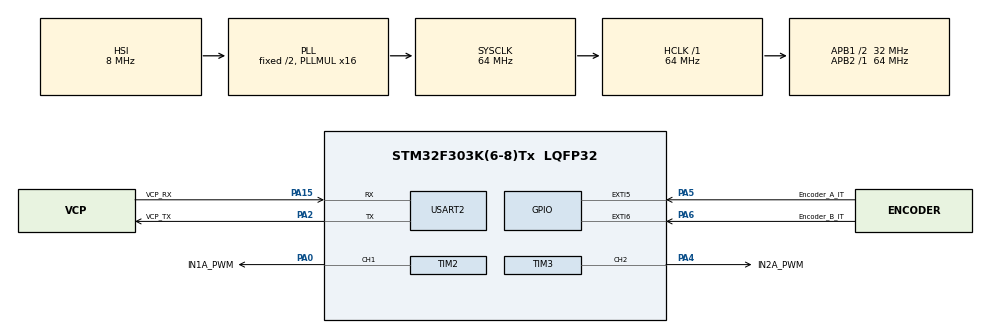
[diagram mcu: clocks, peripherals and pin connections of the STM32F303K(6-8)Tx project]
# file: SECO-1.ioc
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Mcu.Family=STM32F3
Mcu.Name=STM32F303K(6-8)Tx
Mcu.Package=LQFP32
NVIC.EXTI9_5_IRQn=true\:0\:0\:false\:false\:true\:true
NVIC.PriorityGroup=NVIC_PRIORITYGROUP_4
NVIC.TIM6_DAC1_IRQn=true\:0\:0\:false\:false\:true\:true
NVIC.TIM7_DAC2_IRQn=true\:0\:0\:false\:false\:true\:true
PA0.GPIO_Label=IN1A_PWM
PA0.Signal=S_TIM2_CH1_ETR
PA13.GPIO_Label=SWDIO
PA13.Mode=Serial_Wire
PA13.Signal=SYS_JTMS-SWDIO
PA14.GPIO_Label=SWCLK
PA14.Mode=Serial_Wire
PA14.Signal=SYS_JTCK-SWCLK
PA15.GPIO_Label=VCP_RX
PA15.Mode=Asynchronous
PA15.Signal=USART2_RX
PA2.GPIO_Label=VCP_TX
PA2.Mode=Asynchronous
PA2.Signal=USART2_TX
PA4.GPIO_Label=IN2A_PWM
PA4.Signal=S_TIM3_CH2
PA5.GPIO_Label=Encoder_A_IT
PA5.GPIO_ModeDefaultEXTI=GPIO_MODE_IT_RISING_FALLING
PA5.Signal=GPXTI5
PA6.GPIO_Label=Encoder_B_IT
PA6.GPIO_ModeDefaultEXTI=GPIO_MODE_IT_RISING_FALLING
PA6.Signal=GPXTI6
PF0\ /\ OSC_IN.GPIO_Label=MCO
PF0\ /\ OSC_IN.Mode=HSE-External-Clock-Source
PF0\ /\ OSC_IN.Signal=RCC_OSC_IN
ProjectManager.HeapSize=0x200
ProjectManager.StackSize=0x400
ProjectManager.TargetToolchain=TrueSTUDIO
RCC.AHBFreq_Value=64000000
RCC.APB1CLKDivider=RCC_HCLK_DIV2
RCC.APB1Freq_Value=32000000
RCC.APB1TimFreq_Value=64000000
RCC.APB2Freq_Value=64000000
RCC.APB2TimFreq_Value=64000000
RCC.CortexFreq_Value=64000000
RCC.HCLKFreq_Value=64000000
RCC.HSE_VALUE=8000000
RCC.HSI_VALUE=8000000
RCC.PLLMUL=RCC_PLL_MUL16
RCC.SYSCLKFreq_VALUE=64000000
RCC.SYSCLKSourceVirtual=RCC_SYSCLKSOURCE_PLLCLK
SH.S_TIM2_CH1_ETR.0=TIM2_CH1,PWM Generation1 CH1
SH.S_TIM3_CH2.0=TIM3_CH2,PWM Generation2 CH2
TIM2.Channel-PWM\ Generation1\ CH1=TIM_CHANNEL_1
TIM2.Period=1199
TIM2.Prescaler=1
TIM2.Pulse-PWM\ Generation1\ CH1=600
TIM3.Channel-PWM\ Generation2\ CH2=TIM_CHANNEL_2
TIM3.Period=1199
TIM3.Prescaler=1
TIM3.Pulse-PWM\ Generation2\ CH2=600
TIM6.Period=3999
TIM6.Prescaler=15
TIM7.Period=39
TIM7.Prescaler=31999
USART2.VirtualMode-Asynchronous=VM_ASYNC
VP_TIM2_VS_ClockSourceINT.Mode=Internal
VP_TIM3_VS_ClockSourceINT.Mode=Internal
VP_TIM6_VS_ClockSourceINT.Mode=Enable_Timer
VP_TIM7_VS_ClockSourceINT.Mode=Enable_Timer
board=NUCLEO-F303K8

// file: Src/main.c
/* USER CODE BEGIN Header */
/**
  ******************************************************************************
  * @file           : main.c
  * @brief          : Main program body
  ******************************************************************************
  ** This notice applies to any and all portions of this file
  * that are not between comment pairs USER CODE BEGIN and
  * USER CODE END. Other portions of this file, whether
  * inserted by the user or by software development tools
  * are owned by their respective copyright owners.
  *
  * COPYRIGHT(c) 2019 STMicroelectronics
  *
  * Redistribution and use in source and binary forms, with or without modification,
  * are permitted provided that the following conditions are met:
  *   1. Redistributions of source code must retain the above copyright notice,
  *      this list of conditions and the following disclaimer.
  *   2. Redistributions in binary form must reproduce the above copyright notice,
  *      this list of conditions and the following disclaimer in the documentation
  *      and/or other materials provided with the distribution.
  *   3. Neither the name of STMicroelectronics nor the names of its contributors
  *      may be used to endorse or promote products derived from this software
  *      without specific prior written permission.
  *
  * THIS SOFTWARE IS PROVIDED BY THE COPYRIGHT HOLDERS AND CONTRIBUTORS "AS IS"
  * AND ANY EXPRESS OR IMPLIED WARRANTIES, INCLUDING, BUT NOT LIMITED TO, THE
  * IMPLIED WARRANTIES OF MERCHANTABILITY AND FITNESS FOR A PARTICULAR PURPOSE ARE
  * DISCLAIMED. IN NO EVENT SHALL THE COPYRIGHT HOLDER OR CONTRIBUTORS BE LIABLE
  * FOR ANY DIRECT, INDIRECT, INCIDENTAL, SPECIAL, EXEMPLARY, OR CONSEQUENTIAL
  * DAMAGES (INCLUDING, BUT NOT LIMITED TO, PROCUREMENT OF SUBSTITUTE GOODS OR
  * SERVICES; LOSS OF USE, DATA, OR PROFITS; OR BUSINESS INTERRUPTION) HOWEVER
  * CAUSED AND ON ANY THEORY OF LIABILITY, WHETHER IN CONTRACT, STRICT LIABILITY,
  * OR TORT (INCLUDING NEGLIGENCE OR OTHERWISE) ARISING IN ANY WAY OUT OF THE USE
  * OF THIS SOFTWARE, EVEN IF ADVISED OF THE POSSIBILITY OF SUCH DAMAGE.
  *
  ******************************************************************************
  */
/* USER CODE END Header */

#include "main.h"

/* USER CODE BEGIN PD */
#define PI 3.14159265359
#define REDUCTORA 74.83
#define CPR 48
/* USER CODE END PD */

TIM_HandleTypeDef htim2;
TIM_HandleTypeDef htim3;
TIM_HandleTypeDef htim6;
TIM_HandleTypeDef htim7;

UART_HandleTypeDef huart2;

/* USER CODE BEGIN PV */
static int n_pulsos = 0;
static double r = 0;
static uint16_t K = 0;

static float n_pulsos_array[1200];
static uint16_t cuenta_1ms = 0;
/* USER CODE END PV */

void SystemClock_Config(void);
static void MX_GPIO_Init(void);
static void MX_USART2_UART_Init(void);
static void MX_TIM2_Init(void);
static void MX_TIM3_Init(void);
static void MX_TIM6_Init(void);
static void MX_TIM7_Init(void);

int main(void)
{

  /* MCU Configuration--------------------------------------------------------*/

  /* Reset of all peripherals, Initializes the Flash interface and the Systick. */
  HAL_Init();

  /* Configure the system clock */
  SystemClock_Config();

  /* Initialize all configured peripherals */
  MX_GPIO_Init();
  MX_USART2_UART_Init();
  MX_TIM2_Init();
  MX_TIM3_Init();
  MX_TIM6_Init();
  MX_TIM7_Init();
  /* USER CODE BEGIN 2 */
  //mueve_motor(12);
  test(180, 500); // Realizamos un test de control con 180 grados con una K=500
  /* USER CODE END 2 */

  /* Infinite loop */
  while (1)
  {

  }
}

void SystemClock_Config(void)
{
  RCC_OscInitTypeDef RCC_OscInitStruct = {0};
  RCC_ClkInitTypeDef RCC_ClkInitStruct = {0};

  /**Initializes the CPU, AHB and APB busses clocks
  */
  RCC_OscInitStruct.OscillatorType = RCC_OSCILLATORTYPE_HSI;
  RCC_OscInitStruct.HSIState = RCC_HSI_ON;
  RCC_OscInitStruct.HSICalibrationValue = RCC_HSICALIBRATION_DEFAULT;
  RCC_OscInitStruct.PLL.PLLState = RCC_PLL_ON;
  RCC_OscInitStruct.PLL.PLLSource = RCC_PLLSOURCE_HSI;
  RCC_OscInitStruct.PLL.PLLMUL = RCC_PLL_MUL16;
  if (HAL_RCC_OscConfig(&RCC_OscInitStruct) != HAL_OK)
  {
    Error_Handler();
  }
  /**Initializes the CPU, AHB and APB busses clocks
  */
  RCC_ClkInitStruct.ClockType = RCC_CLOCKTYPE_HCLK|RCC_CLOCKTYPE_SYSCLK
                              |RCC_CLOCKTYPE_PCLK1|RCC_CLOCKTYPE_PCLK2;
  RCC_ClkInitStruct.SYSCLKSource = RCC_SYSCLKSOURCE_PLLCLK;
  RCC_ClkInitStruct.AHBCLKDivider = RCC_SYSCLK_DIV1;
  RCC_ClkInitStruct.APB1CLKDivider = RCC_HCLK_DIV2;
  RCC_ClkInitStruct.APB2CLKDivider = RCC_HCLK_DIV1;

  if (HAL_RCC_ClockConfig(&RCC_ClkInitStruct, FLASH_LATENCY_2) != HAL_OK)
  {
    Error_Handler();
  }
}

static void MX_TIM2_Init(void)
{

  TIM_ClockConfigTypeDef sClockSourceConfig = {0};
  TIM_MasterConfigTypeDef sMasterConfig = {0};
  TIM_OC_InitTypeDef sConfigOC = {0};

  htim2.Instance = TIM2;
  htim2.Init.Prescaler = 1;
  htim2.Init.CounterMode = TIM_COUNTERMODE_UP;
  htim2.Init.Period = 1199;
  htim2.Init.ClockDivision = TIM_CLOCKDIVISION_DIV1;
  htim2.Init.AutoReloadPreload = TIM_AUTORELOAD_PRELOAD_DISABLE;
  if (HAL_TIM_Base_Init(&htim2) != HAL_OK)
  {
    Error_Handler();
  }
  sClockSourceConfig.ClockSource = TIM_CLOCKSOURCE_INTERNAL;
  if (HAL_TIM_ConfigClockSource(&htim2, &sClockSourceConfig) != HAL_OK)
  {
    Error_Handler();
  }
  if (HAL_TIM_PWM_Init(&htim2) != HAL_OK)
  {
    Error_Handler();
  }
  sMasterConfig.MasterOutputTrigger = TIM_TRGO_RESET;
  sMasterConfig.MasterSlaveMode = TIM_MASTERSLAVEMODE_DISABLE;
  if (HAL_TIMEx_MasterConfigSynchronization(&htim2, &sMasterConfig) != HAL_OK)
  {
    Error_Handler();
  }
  sConfigOC.OCMode = TIM_OCMODE_PWM1;
  sConfigOC.Pulse = 600;
  sConfigOC.OCPolarity = TIM_OCPOLARITY_HIGH;
  sConfigOC.OCFastMode = TIM_OCFAST_DISABLE;
  if (HAL_TIM_PWM_ConfigChannel(&htim2, &sConfigOC, TIM_CHANNEL_1) != HAL_OK)
  {
    Error_Handler();
  }
  HAL_TIM_MspPostInit(&htim2);

}

static void MX_TIM3_Init(void)
{

  TIM_ClockConfigTypeDef sClockSourceConfig = {0};
  TIM_MasterConfigTypeDef sMasterConfig = {0};
  TIM_OC_InitTypeDef sConfigOC = {0};

  htim3.Instance = TIM3;
  htim3.Init.Prescaler = 1;
  htim3.Init.CounterMode = TIM_COUNTERMODE_UP;
  htim3.Init.Period = 1199;
  htim3.Init.ClockDivision = TIM_CLOCKDIVISION_DIV1;
  htim3.Init.AutoReloadPreload = TIM_AUTORELOAD_PRELOAD_DISABLE;
  if (HAL_TIM_Base_Init(&htim3) != HAL_OK)
  {
    Error_Handler();
  }
  sClockSourceConfig.ClockSource = TIM_CLOCKSOURCE_INTERNAL;
  if (HAL_TIM_ConfigClockSource(&htim3, &sClockSourceConfig) != HAL_OK)
  {
    Error_Handler();
  }
  if (HAL_TIM_PWM_Init(&htim3) != HAL_OK)
  {
    Error_Handler();
  }
  sMasterConfig.MasterOutputTrigger = TIM_TRGO_RESET;
  sMasterConfig.MasterSlaveMode = TIM_MASTERSLAVEMODE_DISABLE;
  if (HAL_TIMEx_MasterConfigSynchronization(&htim3, &sMasterConfig) != HAL_OK)
  {
    Error_Handler();
  }
  sConfigOC.OCMode = TIM_OCMODE_PWM1;
  sConfigOC.Pulse = 600;
  sConfigOC.OCPolarity = TIM_OCPOLARITY_HIGH;
  sConfigOC.OCFastMode = TIM_OCFAST_DISABLE;
  if (HAL_TIM_PWM_ConfigChannel(&htim3, &sConfigOC, TIM_CHANNEL_2) != HAL_OK)
  {
    Error_Handler();
  }
  HAL_TIM_MspPostInit(&htim3);

}

static void MX_TIM6_Init(void)
{

  TIM_MasterConfigTypeDef sMasterConfig = {0};

  htim6.Instance = TIM6;
  htim6.Init.Prescaler = 15;
  htim6.Init.CounterMode = TIM_COUNTERMODE_UP;
  htim6.Init.Period = 3999;
  htim6.Init.AutoReloadPreload = TIM_AUTORELOAD_PRELOAD_DISABLE;
  if (HAL_TIM_Base_Init(&htim6) != HAL_OK)
  {
    Error_Handler();
  }
  sMasterConfig.MasterOutputTrigger = TIM_TRGO_RESET;
  sMasterConfig.MasterSlaveMode = TIM_MASTERSLAVEMODE_DISABLE;
  if (HAL_TIMEx_MasterConfigSynchronization(&htim6, &sMasterConfig) != HAL_OK)
  {
    Error_Handler();
  }

}

static void MX_TIM7_Init(void)
{

  TIM_MasterConfigTypeDef sMasterConfig = {0};

  htim7.Instance = TIM7;
  htim7.Init.Prescaler = 31999;
  htim7.Init.CounterMode = TIM_COUNTERMODE_UP;
  htim7.Init.Period = 39;
  htim7.Init.AutoReloadPreload = TIM_AUTORELOAD_PRELOAD_DISABLE;
  if (HAL_TIM_Base_Init(&htim7) != HAL_OK)
  {
    Error_Handler();
  }
  sMasterConfig.MasterOutputTrigger = TIM_TRGO_RESET;
  sMasterConfig.MasterSlaveMode = TIM_MASTERSLAVEMODE_DISABLE;
  if (HAL_TIMEx_MasterConfigSynchronization(&htim7, &sMasterConfig) != HAL_OK)
  {
    Error_Handler();
  }

}

static void MX_USART2_UART_Init(void)
{

  huart2.Instance = USART2;
  huart2.Init.BaudRate = 38400;
  huart2.Init.WordLength = UART_WORDLENGTH_8B;
  huart2.Init.StopBits = UART_STOPBITS_1;
  huart2.Init.Parity = UART_PARITY_NONE;
  huart2.Init.Mode = UART_MODE_TX_RX;
  huart2.Init.HwFlowCtl = UART_HWCONTROL_NONE;
  huart2.Init.OverSampling = UART_OVERSAMPLING_16;
  huart2.Init.OneBitSampling = UART_ONE_BIT_SAMPLE_DISABLE;
  huart2.AdvancedInit.AdvFeatureInit = UART_ADVFEATURE_NO_INIT;
  if (HAL_UART_Init(&huart2) != HAL_OK)
  {
    Error_Handler();
  }

}

static void MX_GPIO_Init(void)
{
  GPIO_InitTypeDef GPIO_InitStruct = {0};

  /* GPIO Ports Clock Enable */
  __HAL_RCC_GPIOF_CLK_ENABLE();
  __HAL_RCC_GPIOA_CLK_ENABLE();

  /*Configure GPIO pins : Encoder_A_IT_Pin Encoder_B_IT_Pin */
  GPIO_InitStruct.Pin = Encoder_A_IT_Pin|Encoder_B_IT_Pin;
  GPIO_InitStruct.Mode = GPIO_MODE_IT_RISING_FALLING;
  GPIO_InitStruct.Pull = GPIO_NOPULL;
  HAL_GPIO_Init(GPIOA, &GPIO_InitStruct);

  /* EXTI interrupt init*/
  HAL_NVIC_SetPriority(EXTI9_5_IRQn, 0, 0);
  HAL_NVIC_EnableIRQ(EXTI9_5_IRQn);

}

/* USER CODE BEGIN 4 */

// Se realiza un test de control
void test (float posicion, uint16_t K_parametro)
{
	n_pulsos = 0;	// Resetamos los pulsos guardados para futuros test
	r = (posicion*PI/180); // Pasamos de grados a radianes
	K = K_parametro;	   // Asignamos el valor de K
	HAL_TIM_Base_Start_IT(&htim6);	// Arrancamos el timer para recalcular el error
}

// Calcula el error en un momento dado
void error(void)
{
	double e, y, u;
	y = ((double) n_pulsos)*(2*PI)/(REDUCTORA*CPR); // Salida
	e = r - y;	// Error
	u = e*K;	// Señal de control

	if (u>=12) {	// Si la señal de control excede 12V, se limita
		u = 12;
	}
	if (u<=-12) {
		u = -12;
	}
	mueve_motor(u);	// Movemos el motor con la señal de control como parametro

	n_pulsos_array[cuenta_1ms] = y;	// funcion de depuracion, se guarda la salida para luego transmitirse
	cuenta_1ms++;

	if (cuenta_1ms == 1200) {	// Pasados 1200 ms se detiene el controlador y se transmiten las salidas
		tx_pulsos();
		HAL_TIM_Base_Stop_IT(&htim6);
	}
}

void cuenta_pulsos(void) {	// Cuenta cada pulso recibido por los canales A y B del encoder

	static uint8_t estado_encoder = estado_00;  // Estado actual del encoder
	static uint8_t estado_anterior = estado_00; // Estado anterior del encoder

	estado_anterior = estado_encoder;	// Actualizamos el valor anterior del encoder

	// Asignamos el valor actual de encoder
	if (!(HAL_GPIO_ReadPin(GPIOA, GPIO_PIN_5)) && !(HAL_GPIO_ReadPin(GPIOA, GPIO_PIN_6))) {
		estado_encoder = estado_00;
	}

	if (!(HAL_GPIO_ReadPin(GPIOA, GPIO_PIN_5)) && (HAL_GPIO_ReadPin(GPIOA, GPIO_PIN_6))) {
		estado_encoder = estado_01;
	}

	if ((HAL_GPIO_ReadPin(GPIOA, GPIO_PIN_5)) && !(HAL_GPIO_ReadPin(GPIOA, GPIO_PIN_6))) {
		estado_encoder = estado_10;
	}

	if ((HAL_GPIO_ReadPin(GPIOA, GPIO_PIN_5)) && (HAL_GPIO_ReadPin(GPIOA, GPIO_PIN_6))) {
		estado_encoder = estado_11;
	}

	// Comparamos el valor actual del encoder con el anterior para conocer el sentido de giro
	switch (estado_anterior) {
		case estado_00:	if (estado_encoder == estado_01) { n_pulsos = n_pulsos + 1;}
						//if (estado_encoder == estado_10) { n_pulsos = n_pulsos - 1;}
						else { n_pulsos = n_pulsos - 1;}
						break;
		case estado_01:	if (estado_encoder == estado_11) { n_pulsos = n_pulsos + 1;}
						//if (estado_encoder == estado_00) { n_pulsos = n_pulsos - 1;}
						else { n_pulsos = n_pulsos - 1;}
						break;
		case estado_11:	if (estado_encoder == estado_10) { n_pulsos = n_pulsos + 1;}
						//if (estado_encoder == estado_01) { n_pulsos = n_pulsos - 1;}
						else { n_pulsos = n_pulsos - 1;}
						break;
		case estado_10:	if (estado_encoder == estado_00) { n_pulsos = n_pulsos + 1;}
						//if (estado_encoder == estado_11) { n_pulsos = n_pulsos - 1;}
						else { n_pulsos = n_pulsos - 1;}
						break;
	}
}

// Se calcula el ciclo de trabajo correspondiente a un voltaje
void mueve_motor(float voltaje)
{
	uint8_t sentido;
	if (voltaje > 0) {
		sentido = HORARIO;
	}
	else {
		sentido = ANTIHORARIO;
		voltaje = -voltaje;
	}

	int duty_cycle = (int)(voltaje*100)-1;	// Pasamos de voltios a centesimas de voltio, que equivale al duty_cycle

	if (sentido == HORARIO) {

		__HAL_TIM_SET_COMPARE(&htim2, TIM_CHANNEL_1, htim2.Init.Period - duty_cycle);
		HAL_TIM_PWM_Start(&htim2, TIM_CHANNEL_1);	// Arrancamos el PWM 2
	}
	if (sentido == ANTIHORARIO) {

		__HAL_TIM_SET_COMPARE(&htim3, TIM_CHANNEL_2, htim3.Init.Period - duty_cycle); // Asignamos el duty cycle
		HAL_TIM_PWM_Start(&htim3, TIM_CHANNEL_2);	// Arrancamos el PWM 3
	}
}

// Se transmiten las salidas
void tx_pulsos (void) {	// Transmite por UART las posiciones guardadas

	for (int i = 0; i <1200; i++ ) {
		//tx_UART_int(&huart2, i, 10);
		//uint8_t espacio[] = "    ";
		//HAL_UART_Transmit(&huart2, espacio, sizeof(espacio), 10);
		tx_UART_float(&huart2, n_pulsos_array[i], 10);
	}
}

// funcion de depuracion para transmitir floats por UART
void tx_UART_float(UART_HandleTypeDef *huart, float data, uint32_t Timeout) {
	int p_entera = data/1;
	int p_decimal = ((data - p_entera)*100)/1;

	tx_UART_int(huart, p_entera, 10);

	uint8_t punto[] = ".";
	HAL_UART_Transmit(huart, punto, 1, 10);

	if (p_decimal < 10) {
		uint8_t cero[] = "0";
		HAL_UART_Transmit(&huart2, cero, 1, 10);
	}

	tx_UART_int(huart, p_decimal, 10);

	uint8_t salto[] = "\r\n";
	HAL_UART_Transmit(huart, salto, 2, 10);

}

// funcion de depuracion para transmitir ints por UART
void tx_UART_int(UART_HandleTypeDef *huart, int data, uint32_t Timeout)
{

	int size = 1;
	uint8_t negativo = 0;

	if (data < 0) {	// Si los pulsos
		data = -data;
		negativo = 1;
	}

	int numero = data;

	while(numero > 9) {
	  numero =  numero/10;
	  size++;
	}

	char data_char[size];		// String de chars
	uint8_t data_tx[size];	// String de uint8_t

	sprintf(data_char,"%d", data);	// Cada numero del int en un char

	for(uint8_t i=0; i<size; i++ ) {			// Casting de char a uint8_t
		data_tx[i] = (uint8_t) data_char[i];
	}

	if (negativo) {		// Si el numero es negativo, transmite un "-" antes
		uint8_t menos[] = "-";
		HAL_UART_Transmit(huart, menos, 1, 10);
	}
	HAL_UART_Transmit(huart,data_tx,sizeof(data_tx), 10);	// TX por UART del array de uint8_t
	//uint8_t salto[] = "\r\n";
	//HAL_UART_Transmit(huart, salto, 2, 10);
}
/* USER CODE END 4 */

void Error_Handler(void)
{
}

/************************ (C) COPYRIGHT STMicroelectronics *****END OF FILE****/
